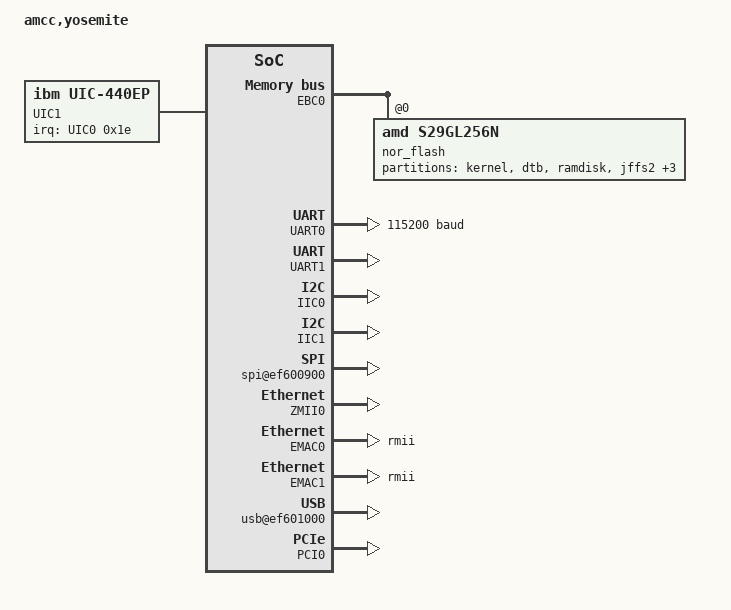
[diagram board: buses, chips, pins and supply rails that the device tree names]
/*
 * Device Tree Source for AMCC Yosemite
 *
 * Copyright 2008 IBM Corp.
 * Josh Boyer <jwboyer@linux.vnet.ibm.com>
 *
 * This file is licensed under the terms of the GNU General Public
 * License version 2.  This program is licensed "as is" without
 * any warranty of any kind, whether express or implied.
 */

/dts-v1/;

/ {
	#address-cells = <2>;
	#size-cells = <1>;
	model = "amcc,yosemite";
	compatible = "amcc,yosemite";
	dcr-parent = <&{/cpus/cpu@0}>;

	aliases {
		ethernet0 = &EMAC0;
		ethernet1 = &EMAC1;
		serial0 = &UART0;
		serial1 = &UART1;
		serial2 = &UART2;
		serial3 = &UART3;
	};

	cpus {
		#address-cells = <1>;
		#size-cells = <0>;

		cpu@0 {
			device_type = "cpu";
			model = "PowerPC,440EP";
			reg = <0x00000000>;
			clock-frequency = <0>; /* Filled in by zImage */
			timebase-frequency = <0>; /* Filled in by zImage */
			i-cache-line-size = <32>;
			d-cache-line-size = <32>;
			i-cache-size = <32768>;
			d-cache-size = <32768>;
			dcr-controller;
			dcr-access-method = "native";
		};
	};

	memory {
		device_type = "memory";
		reg = <0x00000000 0x00000000 0x00000000>; /* Filled in by zImage */
	};

	UIC0: interrupt-controller0 {
		compatible = "ibm,uic-440ep","ibm,uic";
		interrupt-controller;
		cell-index = <0>;
		dcr-reg = <0x0c0 0x009>;
		#address-cells = <0>;
		#size-cells = <0>;
		#interrupt-cells = <2>;
	};

	UIC1: interrupt-controller1 {
		compatible = "ibm,uic-440ep","ibm,uic";
		interrupt-controller;
		cell-index = <1>;
		dcr-reg = <0x0d0 0x009>;
		#address-cells = <0>;
		#size-cells = <0>;
		#interrupt-cells = <2>;
		interrupts = <0x1e 0x4 0x1f 0x4>; /* cascade */
		interrupt-parent = <&UIC0>;
	};

	SDR0: sdr {
		compatible = "ibm,sdr-440ep";
		dcr-reg = <0x00e 0x002>;
	};

	CPR0: cpr {
		compatible = "ibm,cpr-440ep";
		dcr-reg = <0x00c 0x002>;
	};

	plb {
		compatible = "ibm,plb-440ep", "ibm,plb-440gp", "ibm,plb4";
		#address-cells = <2>;
		#size-cells = <1>;
		ranges;
		clock-frequency = <0>; /* Filled in by zImage */

		SDRAM0: sdram {
			compatible = "ibm,sdram-440ep", "ibm,sdram-405gp";
			dcr-reg = <0x010 0x002>;
		};

		DMA0: dma {
			compatible = "ibm,dma-440ep", "ibm,dma-440gp";
			dcr-reg = <0x100 0x027>;
		};

		MAL0: mcmal {
			compatible = "ibm,mcmal-440ep", "ibm,mcmal-440gp", "ibm,mcmal";
			dcr-reg = <0x180 0x062>;
			num-tx-chans = <4>;
			num-rx-chans = <2>;
			interrupt-parent = <&MAL0>;
			interrupts = <0x0 0x1 0x2 0x3 0x4>;
			#interrupt-cells = <1>;
			#address-cells = <0>;
			#size-cells = <0>;
			interrupt-map = </*TXEOB*/ 0x0 &UIC0 0xa 0x4
					/*RXEOB*/ 0x1 &UIC0 0xb 0x4
					/*SERR*/  0x2 &UIC1 0x0 0x4
					/*TXDE*/  0x3 &UIC1 0x1 0x4
					/*RXDE*/  0x4 &UIC1 0x2 0x4>;
		};

		POB0: opb {
			compatible = "ibm,opb-440ep", "ibm,opb-440gp", "ibm,opb";
			#address-cells = <1>;
			#size-cells = <1>;
			/* Bamboo is oddball in the 44x world and doesn't use the ERPN
			 * bits.
			 */
			ranges = <0x00000000 0x00000000 0x00000000 0x80000000
			          0x80000000 0x00000000 0x80000000 0x80000000>;
			interrupt-parent = <&UIC1>;
			interrupts = <0x7 0x4>;
			clock-frequency = <0>; /* Filled in by zImage */

			EBC0: ebc {
				compatible = "ibm,ebc-440ep", "ibm,ebc-440gp", "ibm,ebc";
				dcr-reg = <0x012 0x002>;
				#address-cells = <2>;
				#size-cells = <1>;
				clock-frequency = <0>; /* Filled in by zImage */
				interrupts = <0x5 0x1>;
				interrupt-parent = <&UIC1>;

				nor_flash@0,0 {
					compatible = "amd,s29gl256n", "cfi-flash";
					bank-width = <2>;
					reg = <0x00000000 0x00000000 0x04000000>;
					#address-cells = <1>;
					#size-cells = <1>;
					partition@0 {
						label = "kernel";
						reg = <0x00000000 0x001e0000>;
					};
					partition@1e0000 {
						label = "dtb";
						reg = <0x001e0000 0x00020000>;
					};
					partition@200000 {
						label = "ramdisk";
						reg = <0x00200000 0x01400000>;
					};
					partition@1600000 {
						label = "jffs2";
						reg = <0x01600000 0x00400000>;
					};
					partition@1a00000 {
						label = "user";
						reg = <0x01a00000 0x02540000>;
					};
					partition@3f40000 {
						label = "env";
						reg = <0x03f40000 0x00040000>;
					};
					partition@3f80000 {
						label = "u-boot";
						reg = <0x03f80000 0x00080000>;
					};
				};
			};

			UART0: serial@ef600300 {
				device_type = "serial";
				compatible = "ns16550";
				reg = <0xef600300 0x00000008>;
				virtual-reg = <0xef600300>;
				clock-frequency = <0>; /* Filled in by zImage */
				current-speed = <115200>;
				interrupt-parent = <&UIC0>;
				interrupts = <0x0 0x4>;
			};

			UART1: serial@ef600400 {
				device_type = "serial";
				compatible = "ns16550";
				reg = <0xef600400 0x00000008>;
				virtual-reg = <0xef600400>;
				clock-frequency = <0>;
				current-speed = <0>;
				interrupt-parent = <&UIC0>;
				interrupts = <0x1 0x4>;
			};

			UART2: serial@ef600500 {
				device_type = "serial";
				compatible = "ns16550";
				reg = <0xef600500 0x00000008>;
				virtual-reg = <0xef600500>;
				clock-frequency = <0>;
				current-speed = <0>;
				interrupt-parent = <&UIC0>;
				interrupts = <0x3 0x4>;
				status = "disabled";
			};

			UART3: serial@ef600600 {
				device_type = "serial";
				compatible = "ns16550";
				reg = <0xef600600 0x00000008>;
				virtual-reg = <0xef600600>;
				clock-frequency = <0>;
				current-speed = <0>;
				interrupt-parent = <&UIC0>;
				interrupts = <0x4 0x4>;
				status = "disabled";
			};

			IIC0: i2c@ef600700 {
				compatible = "ibm,iic-440ep", "ibm,iic-440gp", "ibm,iic";
				reg = <0xef600700 0x00000014>;
				interrupt-parent = <&UIC0>;
				interrupts = <0x2 0x4>;
			};

			IIC1: i2c@ef600800 {
				compatible = "ibm,iic-440ep", "ibm,iic-440gp", "ibm,iic";
				reg = <0xef600800 0x00000014>;
				interrupt-parent = <&UIC0>;
				interrupts = <0x7 0x4>;
			};

			spi@ef600900 {
				compatible = "amcc,spi-440ep";
				reg = <0xef600900 0x00000006>;
				interrupts = <0x8 0x4>;
				interrupt-parent = <&UIC0>;
			};

			ZMII0: emac-zmii@ef600d00 {
				compatible = "ibm,zmii-440ep", "ibm,zmii-440gp", "ibm,zmii";
				reg = <0xef600d00 0x0000000c>;
			};

			EMAC0: ethernet@ef600e00 {
				device_type = "network";
				compatible = "ibm,emac-440ep", "ibm,emac-440gp", "ibm,emac";
				interrupt-parent = <&UIC1>;
				interrupts = <0x1c 0x4 0x1d 0x4>;
				reg = <0xef600e00 0x00000070>;
				local-mac-address = [000000000000];
				mal-device = <&MAL0>;
				mal-tx-channel = <0 1>;
				mal-rx-channel = <0>;
				cell-index = <0>;
				max-frame-size = <1500>;
				rx-fifo-size = <4096>;
				tx-fifo-size = <2048>;
				phy-mode = "rmii";
				phy-map = <0x00000000>;
				zmii-device = <&ZMII0>;
				zmii-channel = <0>;
			};

			EMAC1: ethernet@ef600f00 {
				device_type = "network";
				compatible = "ibm,emac-440ep", "ibm,emac-440gp", "ibm,emac";
				interrupt-parent = <&UIC1>;
				interrupts = <0x1e 0x4 0x1f 0x4>;
				reg = <0xef600f00 0x00000070>;
				local-mac-address = [000000000000];
				mal-device = <&MAL0>;
				mal-tx-channel = <2 3>;
				mal-rx-channel = <1>;
				cell-index = <1>;
				max-frame-size = <1500>;
				rx-fifo-size = <4096>;
				tx-fifo-size = <2048>;
				phy-mode = "rmii";
				phy-map = <0x00000000>;
				zmii-device = <&ZMII0>;
				zmii-channel = <1>;
			};

			usb@ef601000 {
				compatible = "ohci-be";
				reg = <0xef601000 0x00000080>;
				interrupts = <0x8 0x4 0x9 0x4>;
				interrupt-parent = < &UIC1 >;
			};
		};

		PCI0: pci@ec000000 {
			device_type = "pci";
			#interrupt-cells = <1>;
			#size-cells = <2>;
			#address-cells = <3>;
			compatible = "ibm,plb440ep-pci", "ibm,plb-pci";
			primary;
			reg = <0x00000000 0xeec00000 0x00000008	/* Config space access */
			       0x00000000 0xeed00000 0x00000004	/* IACK */
			       0x00000000 0xeed00000 0x00000004	/* Special cycle */
			       0x00000000 0xef400000 0x00000040>;	/* Internal registers */

			/* Outbound ranges, one memory and one IO,
			 * later cannot be changed. Chip supports a second
			 * IO range but we don't use it for now
			 */
			ranges = <0x02000000 0x00000000 0xa0000000 0x00000000 0xa0000000 0x00000000 0x20000000
				  0x01000000 0x00000000 0x00000000 0x00000000 0xe8000000 0x00000000 0x00010000>;

			/* Inbound 2GB range starting at 0 */
			dma-ranges = <0x42000000 0x0 0x0 0x0 0x0 0x0 0x80000000>;

			interrupt-map-mask = <0xf800 0x0 0x0 0x0>;
			interrupt-map = <
				/* IDSEL 12 */
				0x6000 0x0 0x0 0x0 &UIC0 0x19 0x8
			>;
		};
	};

	chosen {
		stdout-path = "/plb/opb/serial@ef600300";
	};
};
